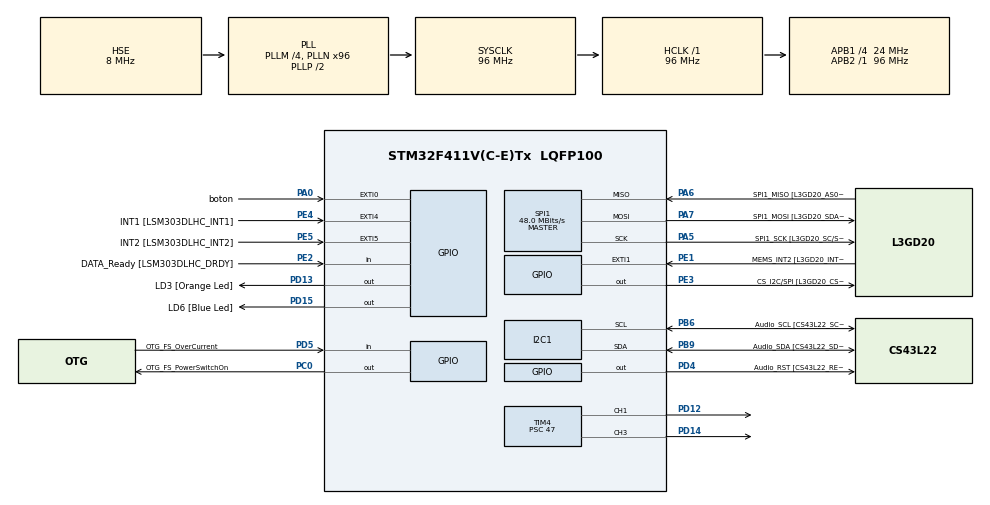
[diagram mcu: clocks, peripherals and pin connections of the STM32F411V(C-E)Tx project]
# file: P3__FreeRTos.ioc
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FREERTOS.BinarySemaphores01=buttonSem,Dynamic,NULL
FREERTOS.HEAP_NUMBER=1
FREERTOS.Mutexes01=i2cMutex,Dynamic,NULL
FREERTOS.Queues01=deltaMagQueue,32,uint32_t,0,Dynamic,NULL,NULL;deltaAceQueue,32,uint32_t,0,Dynamic,NULL,NULL
FREERTOS.Tasks01=nothingTask,8,128,nothingFunction,Default,NULL,Dynamic,NULL,NULL;ledSisTask,32,128,ledSisFunction,As external,NULL,Dynamic,NULL,NULL;muesAceTask,33,128,muesAceFunction,As external,NULL,Dynamic,NULL,NULL;muesMagTask,34,128,muesMagFunction,As external,NULL,Dynamic,NULL,NULL;movAceTask,24,128,movFunction,As external,&f_move_acc,Dynamic,NULL,NULL;movMagTask,25,128,movFunction,As external,&f_move_mag,Dynamic,NULL,NULL;antSisTask,40,128,antSisFunction,As external,NULL,Dynamic,NULL,NULL
FREERTOS.configCHECK_FOR_STACK_OVERFLOW=1
FREERTOS.configENABLE_FPU=1
FREERTOS.configGENERATE_RUN_TIME_STATS=1
FREERTOS.configRECORD_STACK_HIGH_ADDRESS=1
FREERTOS.configUSE_NEWLIB_REENTRANT=1
FREERTOS.configUSE_STATS_FORMATTING_FUNCTIONS=1
Mcu.Family=STM32F4
Mcu.Name=STM32F411V(C-E)Tx
Mcu.Package=LQFP100
NVIC.EXTI0_IRQn=true\:5\:0\:false\:false\:true\:true\:true\:true\:true
NVIC.PriorityGroup=NVIC_PRIORITYGROUP_4
NVIC.TIM1_UP_TIM10_IRQn=true\:15\:0\:false\:false\:true\:false\:false\:true\:true
NVIC.TimeBase=TIM1_UP_TIM10_IRQn
NVIC.TimeBaseIP=TIM10
PA0-WKUP.GPIO_Label=boton
PA0-WKUP.Signal=GPXTI0
PA10.GPIO_Label=OTG_FS_ID
PA10.Signal=USB_OTG_FS_ID
PA11.GPIO_Label=OTG_FS_DM
PA11.Signal=USB_OTG_FS_DM
PA12.GPIO_Label=OTG_FS_DP
PA12.Signal=USB_OTG_FS_DP
PA13.GPIO_Label=SWDIO
PA13.Mode=Serial_Wire
PA13.Signal=SYS_JTMS-SWDIO
PA14.GPIO_Label=SWCLK
PA14.Mode=Serial_Wire
PA14.Signal=SYS_JTCK-SWCLK
PA4.GPIO_Label=I2S3_WS [CS43L22_LRCK]
PA4.GPIO_Mode=GPIO_MODE_AF_PP
PA4.GPIO_PuPd=GPIO_NOPULL
PA4.GPIO_Speed=GPIO_SPEED_FREQ_LOW
PA4.Signal=I2S3_WS
PA5.GPIO_Label=SPI1_SCK [L3GD20_SC/SPC]
PA5.Mode=Full_Duplex_Master
PA5.Signal=SPI1_SCK
PA6.GPIO_Label=SPI1_MISO [L3GD20_AS0/SDO]
PA6.Mode=Full_Duplex_Master
PA6.Signal=SPI1_MISO
PA7.GPIO_Label=SPI1_MOSI [L3GD20_SDA/SDI/SDO]
PA7.Mode=Full_Duplex_Master
PA7.Signal=SPI1_MOSI
PA9.GPIO_Label=VBUS_FS
PA9.Signal=USB_OTG_FS_VBUS
PB10.GPIO_Label=CLK_IN [MP45DT02_CLK]
PB10.Signal=I2S2_CK
PB12.Signal=I2S2_WS
PB3.GPIO_Label=SWO
PB3.Signal=SYS_JTDO-SWO
PB6.GPIO_Label=Audio_SCL [CS43L22_SCL]
PB6.GPIO_Mode=GPIO_MODE_AF_OD
PB6.GPIO_Pu=GPIO_PULLUP
PB6.GPIO_PuPd=GPIO_NOPULL
PB6.GPIO_Speed=GPIO_SPEED_FREQ_LOW
PB6.Mode=I2C
PB6.Signal=I2C1_SCL
PB9.GPIO_Label=Audio_SDA [CS43L22_SDA]
PB9.GPIO_Mode=GPIO_MODE_AF_OD
PB9.GPIO_Pu=GPIO_PULLUP
PB9.GPIO_PuPd=GPIO_NOPULL
PB9.GPIO_Speed=GPIO_SPEED_FREQ_LOW
PB9.Mode=I2C
PB9.Signal=I2C1_SDA
PC0.GPIO_Label=OTG_FS_PowerSwitchOn
PC0.PinState=GPIO_PIN_SET
PC0.Signal=GPIO_Output
PC10.GPIO_Label=I2S3_SCK [CS43L22_SCLK]
PC10.GPIO_Mode=GPIO_MODE_AF_PP
PC10.GPIO_PuPd=GPIO_NOPULL
PC10.GPIO_Speed=GPIO_SPEED_FREQ_LOW
PC10.Signal=I2S3_CK
PC12.GPIO_Label=I2S3_SD [CS43L22_SDIN]
PC12.GPIO_Mode=GPIO_MODE_AF_PP
PC12.GPIO_PuPd=GPIO_NOPULL
PC12.GPIO_Speed=GPIO_SPEED_FREQ_LOW
PC12.Signal=I2S3_SD
PC14-OSC32_IN.GPIO_Label=PC14-OSC32_IN
PC14-OSC32_IN.Mode=LSE-External-Oscillator
PC14-OSC32_IN.Signal=RCC_OSC32_IN
PC15-OSC32_OUT.GPIO_Label=PC15-OSC32_OUT
PC15-OSC32_OUT.Mode=LSE-External-Oscillator
PC15-OSC32_OUT.Signal=RCC_OSC32_OUT
PC3.GPIO_Label=PDM_OUT [MP45DT02_DOUT]
PC3.Signal=I2S2_SD
PC7.GPIO_Label=I2S3_MCK [CS43L22_MCLK]
PC7.GPIO_Mode=GPIO_MODE_AF_PP
PC7.GPIO_PuPd=GPIO_NOPULL
PC7.GPIO_Speed=GPIO_SPEED_FREQ_LOW
PC7.Signal=I2S3_MCK
PD12.Signal=S_TIM4_CH1
PD13.GPIO_Label=LD3 [Orange Led]
PD13.Signal=GPIO_Output
PD14.Signal=S_TIM4_CH3
PD15.GPIO_Label=LD6 [Blue Led]
PD15.Signal=GPIO_Output
PD4.GPIO_Label=Audio_RST [CS43L22_RESET]
PD4.Signal=GPIO_Output
PD5.GPIO_Label=OTG_FS_OverCurrent
PD5.Signal=GPIO_Input
PE1.GPIO_Label=MEMS_INT2 [L3GD20_INT2]
PE1.GPIO_ModeDefaultEXTI=GPIO_MODE_EVT_RISING
PE1.Signal=GPXTI1
PE2.GPIO_Label=DATA_Ready [LSM303DLHC_DRDY]
PE2.Signal=GPIO_Input
PE3.GPIO_Label=CS_I2C/SPI [L3GD20_CS_I2C/SPI]
PE3.Signal=GPIO_Output
PE4.GPIO_Label=INT1 [LSM303DLHC_INT1]
PE4.GPIO_ModeDefaultEXTI=GPIO_MODE_EVT_RISING
PE4.Signal=GPXTI4
PE5.GPIO_Label=INT2 [LSM303DLHC_INT2]
PE5.GPIO_ModeDefaultEXTI=GPIO_MODE_EVT_RISING
PE5.Signal=GPXTI5
PH0\ -\ OSC_IN.GPIO_Label=PH0-OSC_IN
PH0\ -\ OSC_IN.Mode=HSE-External-Oscillator
PH0\ -\ OSC_IN.Signal=RCC_OSC_IN
PH1\ -\ OSC_OUT.GPIO_Label=PH1-OSC_OUT
PH1\ -\ OSC_OUT.Mode=HSE-External-Oscillator
PH1\ -\ OSC_OUT.Signal=RCC_OSC_OUT
ProjectManager.HeapSize=0x200
ProjectManager.StackSize=0x400
ProjectManager.TargetToolchain=STM32CubeIDE
RCC.48MHZClocksFreq_Value=24000000
RCC.AHBFreq_Value=96000000
RCC.APB1CLKDivider=RCC_HCLK_DIV4
RCC.APB1Freq_Value=24000000
RCC.APB1TimFreq_Value=48000000
RCC.APB2Freq_Value=96000000
RCC.APB2TimFreq_Value=96000000
RCC.CortexFreq_Value=96000000
RCC.HCLKFreq_Value=96000000
RCC.HSE_Timout=100
RCC.HSE_VALUE=8000000
RCC.HSI_VALUE=16000000
RCC.PLLI2SM=5
RCC.PLLI2SN=200
RCC.PLLM=4
RCC.PLLN=96
RCC.PLLQ=8
RCC.PLLSourceVirtual=RCC_PLLSOURCE_HSE
RCC.SYSCLKFreq_VALUE=96000000
RCC.SYSCLKSource=RCC_SYSCLKSOURCE_PLLCLK
RCC.VCOOutputFreq_Value=192000000
SH.S_TIM4_CH1.0=TIM4_CH1,PWM Generation1 CH1
SH.S_TIM4_CH3.0=TIM4_CH3,PWM Generation3 CH3
SPI1.BaudRatePrescaler=SPI_BAUDRATEPRESCALER_2
SPI1.CalculateBaudRate=48.0 MBits/s
SPI1.Direction=SPI_DIRECTION_2LINES
SPI1.Mode=SPI_MODE_MASTER
SPI1.VirtualType=VM_MASTER
STMicroelectronics.X-CUBE-ALGOBUILD.1.3.0.LibraryCcDSPOoLibraryJjDSPOoLibrary=true
TIM4.Channel-PWM\ Generation1\ CH1=TIM_CHANNEL_1
TIM4.Channel-PWM\ Generation3\ CH3=TIM_CHANNEL_3
TIM4.Period=9999
TIM4.Prescaler=47
VP_FREERTOS_VS_CMSIS_V2.Mode=CMSIS_V2
VP_STMicroelectronics.X-CUBE-ALGOBUILD_VS_DSPOoLibraryJjLibrary_1.3.0_1.3.0.Mode=DSPOoLibraryJjLibrary
VP_SYS_VS_tim10.Mode=TIM10
VP_TIM4_VS_ClockSourceINT.Mode=Internal
board=STM32F411E-DISCO

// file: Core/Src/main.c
/* USER CODE BEGIN Header */
/**
  ******************************************************************************
  * @file           : main.c
  * @brief          : Main program body
  ******************************************************************************
  * @attention
  *
  * Copyright (c) 2023 STMicroelectronics.
  * All rights reserved.
  *
  * This software is licensed under terms that can be found in the LICENSE file
  * in the root directory of this software component.
  * If no LICENSE file comes with this software, it is provided AS-IS.
  *
  ******************************************************************************
  */
/* USER CODE END Header */
#include "main.h"
#include "cmsis_os.h"

/* USER CODE BEGIN Includes */
#include "movTask.h"
#include "fsm.h"
#include "../../STM32F411E-Discovery/stm32f411e_discovery_accelerometer.h"
#include "lsm303_mag.h"
/* USER CODE END Includes */

I2C_HandleTypeDef hi2c1;

SPI_HandleTypeDef hspi1;

TIM_HandleTypeDef htim4;

/* Definitions for nothingTask */
osThreadId_t nothingTaskHandle;
const osThreadAttr_t nothingTask_attributes = {
  .name = "nothingTask",
  .stack_size = 128 * 4,
  .priority = (osPriority_t) osPriorityLow,
};
/* Definitions for ledSisTask */
osThreadId_t ledSisTaskHandle;
const osThreadAttr_t ledSisTask_attributes = {
  .name = "ledSisTask",
  .stack_size = 128 * 4,
  .priority = (osPriority_t) osPriorityAboveNormal,
};
/* Definitions for muesAceTask */
osThreadId_t muesAceTaskHandle;
const osThreadAttr_t muesAceTask_attributes = {
  .name = "muesAceTask",
  .stack_size = 128 * 4,
  .priority = (osPriority_t) osPriorityAboveNormal1,
};
/* Definitions for muesMagTask */
osThreadId_t muesMagTaskHandle;
const osThreadAttr_t muesMagTask_attributes = {
  .name = "muesMagTask",
  .stack_size = 128 * 4,
  .priority = (osPriority_t) osPriorityAboveNormal2,
};
/* Definitions for movAceTask */
osThreadId_t movAceTaskHandle;
const osThreadAttr_t movAceTask_attributes = {
  .name = "movAceTask",
  .stack_size = 128 * 4,
  .priority = (osPriority_t) osPriorityNormal,
};
/* Definitions for movMagTask */
osThreadId_t movMagTaskHandle;
const osThreadAttr_t movMagTask_attributes = {
  .name = "movMagTask",
  .stack_size = 128 * 4,
  .priority = (osPriority_t) osPriorityNormal1,
};
/* Definitions for antSisTask */
osThreadId_t antSisTaskHandle;
const osThreadAttr_t antSisTask_attributes = {
  .name = "antSisTask",
  .stack_size = 128 * 4,
  .priority = (osPriority_t) osPriorityHigh,
};
/* Definitions for deltaMagQueue */
osMessageQueueId_t deltaMagQueueHandle;
const osMessageQueueAttr_t deltaMagQueue_attributes = {
  .name = "deltaMagQueue"
};
/* Definitions for deltaAceQueue */
osMessageQueueId_t deltaAceQueueHandle;
const osMessageQueueAttr_t deltaAceQueue_attributes = {
  .name = "deltaAceQueue"
};
/* Definitions for i2cMutex */
osMutexId_t i2cMutexHandle;
const osMutexAttr_t i2cMutex_attributes = {
  .name = "i2cMutex"
};
/* Definitions for buttonSem */
osSemaphoreId_t buttonSemHandle;
const osSemaphoreAttr_t buttonSem_attributes = {
  .name = "buttonSem"
};

void SystemClock_Config(void);
static void MX_GPIO_Init(void);
static void MX_I2C1_Init(void);
static void MX_SPI1_Init(void);
static void MX_TIM4_Init(void);
void nothingFunction(void *argument);
extern void ledSisFunction(void *argument);
extern void muesAceFunction(void *argument);
extern void muesMagFunction(void *argument);
extern void movFunction(void *argument);
extern void antSisFunction(void *argument);

/* USER CODE BEGIN 0 */
fsm_move_t f_move_acc;
fsm_move_t f_move_mag;
/* USER CODE END 0 */

int main(void)
{

  /* MCU Configuration--------------------------------------------------------*/

  /* Reset of all peripherals, Initializes the Flash interface and the Systick. */
  HAL_Init();

  /* Configure the system clock */
  SystemClock_Config();

  /* Initialize all configured peripherals */
  MX_GPIO_Init();
  MX_I2C1_Init();
  MX_SPI1_Init();
  MX_TIM4_Init();
  /* USER CODE BEGIN 2 */
  BSP_ACCELERO_Init();
  LSM303AGR_MagInit();
  /* USER CODE END 2 */

  /* Init scheduler */
  osKernelInitialize();
  /* Create the mutex(es) */
  /* creation of i2cMutex */
  i2cMutexHandle = osMutexNew(&i2cMutex_attributes);

  /* Create the semaphores(s) */
  /* creation of buttonSem */
  buttonSemHandle = osSemaphoreNew(1, 1, &buttonSem_attributes);

  /* Create the queue(s) */
  /* creation of deltaMagQueue */
  deltaMagQueueHandle = osMessageQueueNew (32, sizeof(uint32_t), &deltaMagQueue_attributes);

  /* creation of deltaAceQueue */
  deltaAceQueueHandle = osMessageQueueNew (32, sizeof(uint32_t), &deltaAceQueue_attributes);

  /* USER CODE BEGIN RTOS_QUEUES */
  /* add queues, ... */
  f_move_acc.mov_queue = deltaAceQueueHandle;
  f_move_acc.threshold = TH_ACC_HIGH;
  f_move_acc.htim = &htim4;
  f_move_acc.channel = TIM_CHANNEL_1;

  f_move_mag.mov_queue = deltaMagQueueHandle;
  f_move_mag.threshold = TH_ACC_HIGH;
  f_move_mag.htim = &htim4;
  f_move_mag.channel = TIM_CHANNEL_3;
  /* USER CODE END RTOS_QUEUES */

  /* Create the thread(s) */
  /* creation of nothingTask */
  nothingTaskHandle = osThreadNew(nothingFunction, NULL, &nothingTask_attributes);

  /* creation of ledSisTask */
  ledSisTaskHandle = osThreadNew(ledSisFunction, NULL, &ledSisTask_attributes);

  /* creation of muesAceTask */
  muesAceTaskHandle = osThreadNew(muesAceFunction, NULL, &muesAceTask_attributes);

  /* creation of muesMagTask */
  muesMagTaskHandle = osThreadNew(muesMagFunction, NULL, &muesMagTask_attributes);

  /* creation of movAceTask */
  movAceTaskHandle = osThreadNew(movFunction, (void*) &f_move_acc, &movAceTask_attributes);

  /* creation of movMagTask */
  movMagTaskHandle = osThreadNew(movFunction, (void*) &f_move_mag, &movMagTask_attributes);

  /* creation of antSisTask */
  antSisTaskHandle = osThreadNew(antSisFunction, NULL, &antSisTask_attributes);

  /* Start scheduler */
  osKernelStart();

  /* We should never get here as control is now taken by the scheduler */
  /* Infinite loop */
  while (1)
  {

  }
}

void SystemClock_Config(void)
{
  RCC_OscInitTypeDef RCC_OscInitStruct = {0};
  RCC_ClkInitTypeDef RCC_ClkInitStruct = {0};

  /** Configure the main internal regulator output voltage
  */
  __HAL_RCC_PWR_CLK_ENABLE();
  __HAL_PWR_VOLTAGESCALING_CONFIG(PWR_REGULATOR_VOLTAGE_SCALE1);

  /** Initializes the RCC Oscillators according to the specified parameters
  * in the RCC_OscInitTypeDef structure.
  */
  RCC_OscInitStruct.OscillatorType = RCC_OSCILLATORTYPE_HSE;
  RCC_OscInitStruct.HSEState = RCC_HSE_ON;
  RCC_OscInitStruct.PLL.PLLState = RCC_PLL_ON;
  RCC_OscInitStruct.PLL.PLLSource = RCC_PLLSOURCE_HSE;
  RCC_OscInitStruct.PLL.PLLM = 4;
  RCC_OscInitStruct.PLL.PLLN = 96;
  RCC_OscInitStruct.PLL.PLLP = RCC_PLLP_DIV2;
  RCC_OscInitStruct.PLL.PLLQ = 8;
  if (HAL_RCC_OscConfig(&RCC_OscInitStruct) != HAL_OK)
  {
    Error_Handler();
  }

  /** Initializes the CPU, AHB and APB buses clocks
  */
  RCC_ClkInitStruct.ClockType = RCC_CLOCKTYPE_HCLK|RCC_CLOCKTYPE_SYSCLK
                              |RCC_CLOCKTYPE_PCLK1|RCC_CLOCKTYPE_PCLK2;
  RCC_ClkInitStruct.SYSCLKSource = RCC_SYSCLKSOURCE_PLLCLK;
  RCC_ClkInitStruct.AHBCLKDivider = RCC_SYSCLK_DIV1;
  RCC_ClkInitStruct.APB1CLKDivider = RCC_HCLK_DIV4;
  RCC_ClkInitStruct.APB2CLKDivider = RCC_HCLK_DIV1;

  if (HAL_RCC_ClockConfig(&RCC_ClkInitStruct, FLASH_LATENCY_3) != HAL_OK)
  {
    Error_Handler();
  }
}

static void MX_I2C1_Init(void)
{

  hi2c1.Instance = I2C1;
  hi2c1.Init.ClockSpeed = 100000;
  hi2c1.Init.DutyCycle = I2C_DUTYCYCLE_2;
  hi2c1.Init.OwnAddress1 = 0;
  hi2c1.Init.AddressingMode = I2C_ADDRESSINGMODE_7BIT;
  hi2c1.Init.DualAddressMode = I2C_DUALADDRESS_DISABLE;
  hi2c1.Init.OwnAddress2 = 0;
  hi2c1.Init.GeneralCallMode = I2C_GENERALCALL_DISABLE;
  hi2c1.Init.NoStretchMode = I2C_NOSTRETCH_DISABLE;
  if (HAL_I2C_Init(&hi2c1) != HAL_OK)
  {
    Error_Handler();
  }

}

static void MX_SPI1_Init(void)
{

  /* SPI1 parameter configuration*/
  hspi1.Instance = SPI1;
  hspi1.Init.Mode = SPI_MODE_MASTER;
  hspi1.Init.Direction = SPI_DIRECTION_2LINES;
  hspi1.Init.DataSize = SPI_DATASIZE_8BIT;
  hspi1.Init.CLKPolarity = SPI_POLARITY_LOW;
  hspi1.Init.CLKPhase = SPI_PHASE_1EDGE;
  hspi1.Init.NSS = SPI_NSS_SOFT;
  hspi1.Init.BaudRatePrescaler = SPI_BAUDRATEPRESCALER_2;
  hspi1.Init.FirstBit = SPI_FIRSTBIT_MSB;
  hspi1.Init.TIMode = SPI_TIMODE_DISABLE;
  hspi1.Init.CRCCalculation = SPI_CRCCALCULATION_DISABLE;
  hspi1.Init.CRCPolynomial = 10;
  if (HAL_SPI_Init(&hspi1) != HAL_OK)
  {
    Error_Handler();
  }

}

static void MX_TIM4_Init(void)
{

  TIM_ClockConfigTypeDef sClockSourceConfig = {0};
  TIM_MasterConfigTypeDef sMasterConfig = {0};
  TIM_OC_InitTypeDef sConfigOC = {0};

  htim4.Instance = TIM4;
  htim4.Init.Prescaler = 47;
  htim4.Init.CounterMode = TIM_COUNTERMODE_UP;
  htim4.Init.Period = 9999;
  htim4.Init.ClockDivision = TIM_CLOCKDIVISION_DIV1;
  htim4.Init.AutoReloadPreload = TIM_AUTORELOAD_PRELOAD_DISABLE;
  if (HAL_TIM_Base_Init(&htim4) != HAL_OK)
  {
    Error_Handler();
  }
  sClockSourceConfig.ClockSource = TIM_CLOCKSOURCE_INTERNAL;
  if (HAL_TIM_ConfigClockSource(&htim4, &sClockSourceConfig) != HAL_OK)
  {
    Error_Handler();
  }
  if (HAL_TIM_PWM_Init(&htim4) != HAL_OK)
  {
    Error_Handler();
  }
  sMasterConfig.MasterOutputTrigger = TIM_TRGO_RESET;
  sMasterConfig.MasterSlaveMode = TIM_MASTERSLAVEMODE_DISABLE;
  if (HAL_TIMEx_MasterConfigSynchronization(&htim4, &sMasterConfig) != HAL_OK)
  {
    Error_Handler();
  }
  sConfigOC.OCMode = TIM_OCMODE_PWM1;
  sConfigOC.Pulse = 0;
  sConfigOC.OCPolarity = TIM_OCPOLARITY_HIGH;
  sConfigOC.OCFastMode = TIM_OCFAST_DISABLE;
  if (HAL_TIM_PWM_ConfigChannel(&htim4, &sConfigOC, TIM_CHANNEL_1) != HAL_OK)
  {
    Error_Handler();
  }
  if (HAL_TIM_PWM_ConfigChannel(&htim4, &sConfigOC, TIM_CHANNEL_3) != HAL_OK)
  {
    Error_Handler();
  }
  HAL_TIM_MspPostInit(&htim4);

}

static void MX_GPIO_Init(void)
{
  GPIO_InitTypeDef GPIO_InitStruct = {0};

  /* GPIO Ports Clock Enable */
  __HAL_RCC_GPIOE_CLK_ENABLE();
  __HAL_RCC_GPIOC_CLK_ENABLE();
  __HAL_RCC_GPIOH_CLK_ENABLE();
  __HAL_RCC_GPIOA_CLK_ENABLE();
  __HAL_RCC_GPIOB_CLK_ENABLE();
  __HAL_RCC_GPIOD_CLK_ENABLE();

  /*Configure GPIO pin Output Level */
  HAL_GPIO_WritePin(CS_I2C_SPI_GPIO_Port, CS_I2C_SPI_Pin, GPIO_PIN_RESET);

  /*Configure GPIO pin Output Level */
  HAL_GPIO_WritePin(OTG_FS_PowerSwitchOn_GPIO_Port, OTG_FS_PowerSwitchOn_Pin, GPIO_PIN_SET);

  /*Configure GPIO pin Output Level */
  HAL_GPIO_WritePin(GPIOD, LD3_Pin|LD6_Pin|Audio_RST_Pin, GPIO_PIN_RESET);

  /*Configure GPIO pin : DATA_Ready_Pin */
  GPIO_InitStruct.Pin = DATA_Ready_Pin;
  GPIO_InitStruct.Mode = GPIO_MODE_INPUT;
  GPIO_InitStruct.Pull = GPIO_NOPULL;
  HAL_GPIO_Init(DATA_Ready_GPIO_Port, &GPIO_InitStruct);

  /*Configure GPIO pin : CS_I2C_SPI_Pin */
  GPIO_InitStruct.Pin = CS_I2C_SPI_Pin;
  GPIO_InitStruct.Mode = GPIO_MODE_OUTPUT_PP;
  GPIO_InitStruct.Pull = GPIO_NOPULL;
  GPIO_InitStruct.Speed = GPIO_SPEED_FREQ_LOW;
  HAL_GPIO_Init(CS_I2C_SPI_GPIO_Port, &GPIO_InitStruct);

  /*Configure GPIO pins : INT1_Pin INT2_Pin MEMS_INT2_Pin */
  GPIO_InitStruct.Pin = INT1_Pin|INT2_Pin|MEMS_INT2_Pin;
  GPIO_InitStruct.Mode = GPIO_MODE_EVT_RISING;
  GPIO_InitStruct.Pull = GPIO_NOPULL;
  HAL_GPIO_Init(GPIOE, &GPIO_InitStruct);

  /*Configure GPIO pin : OTG_FS_PowerSwitchOn_Pin */
  GPIO_InitStruct.Pin = OTG_FS_PowerSwitchOn_Pin;
  GPIO_InitStruct.Mode = GPIO_MODE_OUTPUT_PP;
  GPIO_InitStruct.Pull = GPIO_NOPULL;
  GPIO_InitStruct.Speed = GPIO_SPEED_FREQ_LOW;
  HAL_GPIO_Init(OTG_FS_PowerSwitchOn_GPIO_Port, &GPIO_InitStruct);

  /*Configure GPIO pin : PDM_OUT_Pin */
  GPIO_InitStruct.Pin = PDM_OUT_Pin;
  GPIO_InitStruct.Mode = GPIO_MODE_AF_PP;
  GPIO_InitStruct.Pull = GPIO_NOPULL;
  GPIO_InitStruct.Speed = GPIO_SPEED_FREQ_LOW;
  GPIO_InitStruct.Alternate = GPIO_AF5_SPI2;
  HAL_GPIO_Init(PDM_OUT_GPIO_Port, &GPIO_InitStruct);

  /*Configure GPIO pin : boton_Pin */
  GPIO_InitStruct.Pin = boton_Pin;
  GPIO_InitStruct.Mode = GPIO_MODE_IT_RISING;
  GPIO_InitStruct.Pull = GPIO_NOPULL;
  HAL_GPIO_Init(boton_GPIO_Port, &GPIO_InitStruct);

  /*Configure GPIO pin : I2S3_WS_Pin */
  GPIO_InitStruct.Pin = I2S3_WS_Pin;
  GPIO_InitStruct.Mode = GPIO_MODE_AF_PP;
  GPIO_InitStruct.Pull = GPIO_NOPULL;
  GPIO_InitStruct.Speed = GPIO_SPEED_FREQ_LOW;
  GPIO_InitStruct.Alternate = GPIO_AF6_SPI3;
  HAL_GPIO_Init(I2S3_WS_GPIO_Port, &GPIO_InitStruct);

  /*Configure GPIO pins : CLK_IN_Pin PB12 */
  GPIO_InitStruct.Pin = CLK_IN_Pin|GPIO_PIN_12;
  GPIO_InitStruct.Mode = GPIO_MODE_AF_PP;
  GPIO_InitStruct.Pull = GPIO_NOPULL;
  GPIO_InitStruct.Speed = GPIO_SPEED_FREQ_LOW;
  GPIO_InitStruct.Alternate = GPIO_AF5_SPI2;
  HAL_GPIO_Init(GPIOB, &GPIO_InitStruct);

  /*Configure GPIO pins : LD3_Pin LD6_Pin Audio_RST_Pin */
  GPIO_InitStruct.Pin = LD3_Pin|LD6_Pin|Audio_RST_Pin;
  GPIO_InitStruct.Mode = GPIO_MODE_OUTPUT_PP;
  GPIO_InitStruct.Pull = GPIO_NOPULL;
  GPIO_InitStruct.Speed = GPIO_SPEED_FREQ_LOW;
  HAL_GPIO_Init(GPIOD, &GPIO_InitStruct);

  /*Configure GPIO pins : I2S3_MCK_Pin I2S3_SCK_Pin I2S3_SD_Pin */
  GPIO_InitStruct.Pin = I2S3_MCK_Pin|I2S3_SCK_Pin|I2S3_SD_Pin;
  GPIO_InitStruct.Mode = GPIO_MODE_AF_PP;
  GPIO_InitStruct.Pull = GPIO_NOPULL;
  GPIO_InitStruct.Speed = GPIO_SPEED_FREQ_LOW;
  GPIO_InitStruct.Alternate = GPIO_AF6_SPI3;
  HAL_GPIO_Init(GPIOC, &GPIO_InitStruct);

  /*Configure GPIO pin : VBUS_FS_Pin */
  GPIO_InitStruct.Pin = VBUS_FS_Pin;
  GPIO_InitStruct.Mode = GPIO_MODE_INPUT;
  GPIO_InitStruct.Pull = GPIO_NOPULL;
  HAL_GPIO_Init(VBUS_FS_GPIO_Port, &GPIO_InitStruct);

  /*Configure GPIO pins : OTG_FS_ID_Pin OTG_FS_DM_Pin OTG_FS_DP_Pin */
  GPIO_InitStruct.Pin = OTG_FS_ID_Pin|OTG_FS_DM_Pin|OTG_FS_DP_Pin;
  GPIO_InitStruct.Mode = GPIO_MODE_AF_PP;
  GPIO_InitStruct.Pull = GPIO_NOPULL;
  GPIO_InitStruct.Speed = GPIO_SPEED_FREQ_VERY_HIGH;
  GPIO_InitStruct.Alternate = GPIO_AF10_OTG_FS;
  HAL_GPIO_Init(GPIOA, &GPIO_InitStruct);

  /*Configure GPIO pin : OTG_FS_OverCurrent_Pin */
  GPIO_InitStruct.Pin = OTG_FS_OverCurrent_Pin;
  GPIO_InitStruct.Mode = GPIO_MODE_INPUT;
  GPIO_InitStruct.Pull = GPIO_NOPULL;
  HAL_GPIO_Init(OTG_FS_OverCurrent_GPIO_Port, &GPIO_InitStruct);

  /* EXTI interrupt init*/
  HAL_NVIC_SetPriority(EXTI0_IRQn, 5, 0);
  HAL_NVIC_EnableIRQ(EXTI0_IRQn);

}

/* USER CODE BEGIN 4 */
int __io_putchar(int ch)
{
	return ITM_SendChar(ch);
}

void HAL_GPIO_EXTI_Callback(uint16_t GPIO_Pin) // para el boton interrupciones
{
 if(GPIO_Pin == GPIO_PIN_0)
 {
	osSemaphoreRelease(buttonSemHandle);
 }
}
/* USER CODE END 4 */

void nothingFunction(void *argument)
{
  for(;;)
  {
    osDelay(1);
  }
}

void HAL_TIM_PeriodElapsedCallback(TIM_HandleTypeDef *htim)
{
  if (htim->Instance == TIM10) {
    HAL_IncTick();
  }
}

void Error_Handler(void)
{
  __disable_irq();
  while (1)
  {
  }
}

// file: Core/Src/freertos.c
/* USER CODE BEGIN Header */
/**
  ******************************************************************************
  * File Name          : freertos.c
  * Description        : Code for freertos applications
  ******************************************************************************
  * @attention
  *
  * Copyright (c) 2023 STMicroelectronics.
  * All rights reserved.
  *
  * This software is licensed under terms that can be found in the LICENSE file
  * in the root directory of this software component.
  * If no LICENSE file comes with this software, it is provided AS-IS.
  *
  ******************************************************************************
  */
/* USER CODE END Header */

#include "FreeRTOS.h"
#include "task.h"
#include "main.h"

/* USER CODE BEGIN Includes */
#include "movTask.h"
/* USER CODE END Includes */

/* Hook prototypes */
void configureTimerForRunTimeStats(void);
unsigned long getRunTimeCounterValue(void);
void vApplicationStackOverflowHook(xTaskHandle xTask, signed char *pcTaskName);

/* USER CODE BEGIN 1 */
/* Functions needed when configGENERATE_RUN_TIME_STATS is on */
__weak void configureTimerForRunTimeStats(void)
{
	CoreDebug->DEMCR |= CoreDebug_DEMCR_TRCENA_Msk;
	DWT->CTRL |= DWT_CTRL_CYCCNTENA_Msk;
	DWT->CYCCNT = 0;
}

__weak unsigned long getRunTimeCounterValue(void)
{
return DWT->CYCCNT;
}
/* USER CODE END 1 */

/* USER CODE BEGIN 4 */
void vApplicationStackOverflowHook(xTaskHandle xTask, signed char *pcTaskName)
{
   /* Run time stack overflow checking is performed if
   configCHECK_FOR_STACK_OVERFLOW is defined to 1 or 2. This hook function is
   called if a stack overflow is detected. */
}
/* USER CODE END 4 */
